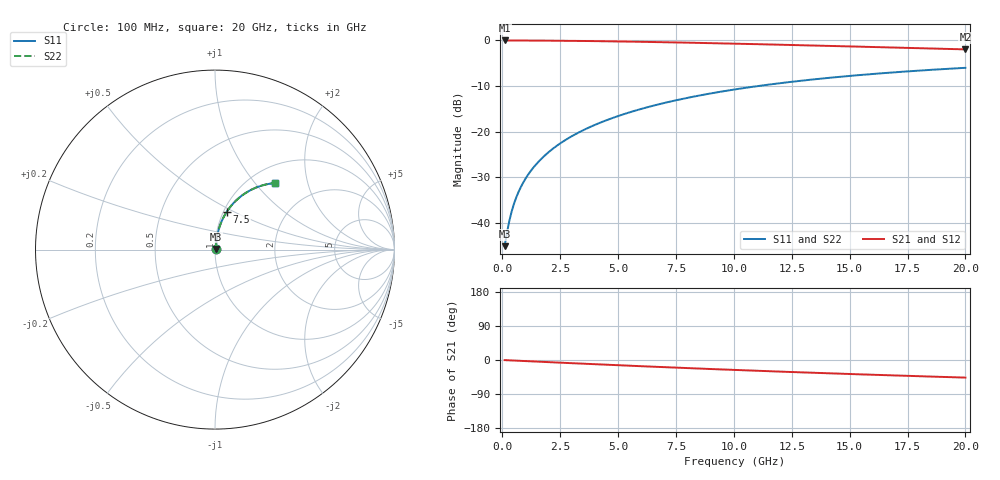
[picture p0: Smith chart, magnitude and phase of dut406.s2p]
! Touchstone file exported from HFSS 2024.1.0
!  File:  C:/UserFiles/LocalFiles/RDL_TSV_Batchsim/temp_RDL_bottom_406_1779683130.aedt
!  Generated:  12:28:29 PM May 25, 2026
!  Design:  RDL_bottom
!  Project:  temp_RDL_bottom_406_1779683130
!  Setup:  Setup1
!  Solution:  Sweep
! Variables:
!  dtsv = 10.80580581um
!  hbump = 3um
!  htsv = 57.02um
!  ldown = 589.61um
!  lrdl = 100um
!  p = 40
!  p1 = 57.81um
!  rhole = 1um
!  t = 450um
!  tdown = 2.94um
!  trdl = 3.915915916um
!  wdown = 15.87um
!  wrdl = 20um
# GHz S MA R 50.000000
! Terminal data exported
! Port[1] = RDL1_T1
! Port[2] = RDL1_T2
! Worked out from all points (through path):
!   200 points, 100 MHz to 20 GHz, reference 50 ohm
!   highest |S21| = -0.04 dB at 100 MHz (marker M1); lowest = -2.0 dB at 20 GHz (marker M2)
!   group delay of S21, straight-line fit = 6.44 ps
!   lowest |S11| = -45.1 dB at 100 MHz (marker M3), VSWR 1.01, Z = 50.5 + j0.312 ohm
!   |S11| at or under -10 dB: start of sweep to 11.08 GHz
!   |S22| runs from -45.1 to -6.0 dB; largest |S21 - S12| = 2e-15
!   S11 on the Smith chart (normalised r, x): 100 MHz: 1.01, +0.01; 7.5 GHz: 1.04, +0.46; 20 GHz: 1.29, +1.28
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0.1  0.005557 33.9  0.9954 -0.3  0.9954 -0.3  0.005557 33.9
! Gamma 0 0 0 0
! Port Impedance 50 0 50 0
0.2  0.007766 52.6  0.9953 -0.6  0.9953 -0.6  0.007766 52.6
0.3  0.01041 62.1  0.9951 -0.9  0.9951 -0.9  0.01041 62.1
0.4  0.01321 67.5  0.9949 -1.2  0.9949 -1.2  0.01321 67.5
0.5  0.01605 70.9  0.9947 -1.4  0.9947 -1.4  0.01605 70.9
0.6  0.01891 73.2  0.9945 -1.7  0.9945 -1.7  0.01891 73.2
0.8  0.02465 76.2  0.9941 -2.3  0.9941 -2.3  0.02465 76.2
1.1  0.0333 78.6  0.9934 -3.1  0.9934 -3.1  0.0333 78.6
1.5  0.04491 80.1  0.9922 -4.2  0.9922 -4.2  0.04491 80.1
1.8  0.05367 80.6  0.9912 -5.1  0.9912 -5.1  0.05367 80.6
2.1  0.06245 80.8  0.99 -5.9  0.99 -5.9  0.06245 80.8
2.7  0.08007 80.7  0.9872 -7.6  0.9872 -7.6  0.08007 80.7
3.5  0.1037 80.0  0.9825 -9.8  0.9825 -9.8  0.1037 80.0
4.2  0.1243 79.0  0.9776 -11.7  0.9776 -11.7  0.1243 79.0
5  0.1479 77.7  0.9713 -13.8  0.9713 -13.8  0.1479 77.7
6.8  0.2002 74.3  0.9544 -18.4  0.9544 -18.4  0.2002 74.2
7.5  0.2201 72.8  0.9471 -20.2  0.9471 -20.2  0.2201 72.8
8.7  0.2535 70.3  0.9339 -23.1  0.9339 -23.1  0.2535 70.3
10.1  0.291 67.3  0.9175 -26.4  0.9175 -26.4  0.291 67.3
13.4  0.3719 60.4  0.8768 -33.7  0.8768 -33.7  0.3719 60.4
16.7  0.4413 53.9  0.8352 -40.3  0.8352 -40.3  0.4412 53.9
20  0.4992 48.0  0.7948 -46.4  0.7948 -46.4  0.4992 48.0
